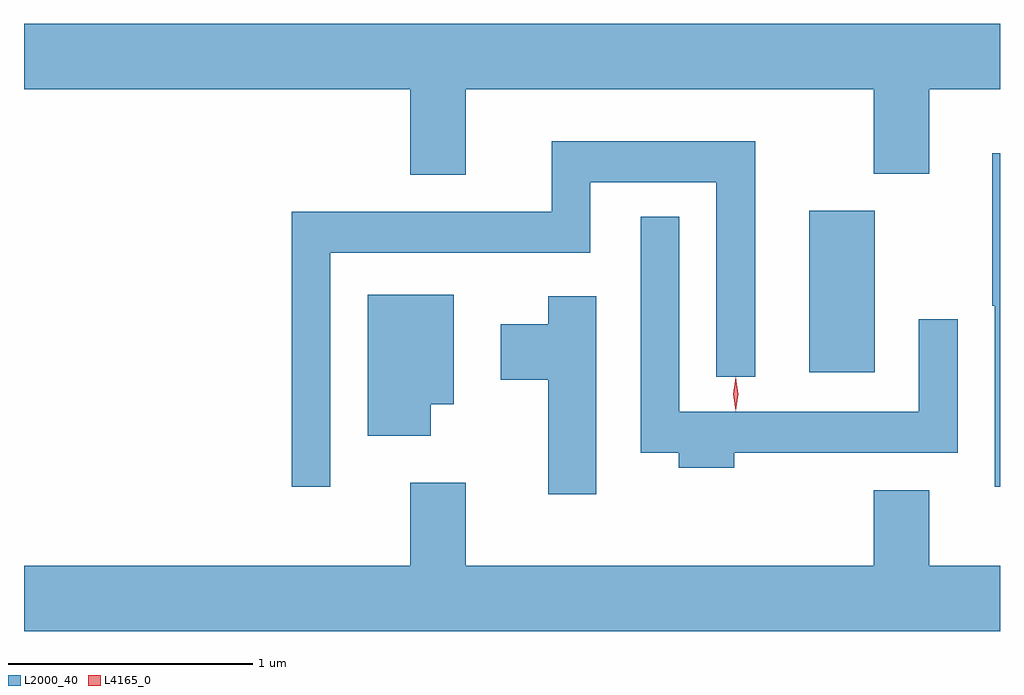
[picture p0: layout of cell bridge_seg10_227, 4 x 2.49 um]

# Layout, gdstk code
import gdstk
lib = gdstk.Library(unit=1e-6, precision=1e-09)
def R(c, l, rs):  # rectangles x0, y0, x1, y1
    for r in rs: c.add(gdstk.rectangle(r[:2], r[2:], *l))
def P(c, l, *ps):  # polygons
    for p in ps: c.add(gdstk.Polygon(p, *l))
L2000_40 = (2000, 40)
L4165_0 = (4165, 0)

bridge_seg10_227 = lib.new_cell('bridge_seg10_227')
R(bridge_seg10_227, L2000_40, [(1740.026,2099.436,1740.294,2100.099)])
P(bridge_seg10_227, L2000_40, [(1738.619,2100.596),(1740.291,2100.596),(1740.291,2100.251),(1740.519,2100.251),(1740.519,2100.596),(1740.808,2100.596),(1740.808,2100.864),(1736.808,2100.864),(1736.808,2100.596),(1738.391,2100.596),(1738.391,2100.246),(1738.619,2100.246)],
  [(1738.064,2099.926),(1739.129,2099.926),(1739.129,2100.216),(1739.646,2100.216),(1739.646,2099.418),(1739.804,2099.418),(1739.804,2100.384),(1738.971,2100.384),(1738.971,2100.094),(1737.906,2100.094),(1737.906,2098.968),(1738.064,2098.968)],
  [(1740.808,2100.334),(1740.776,2100.334),(1740.776,2099.71),(1740.786,2099.71),(1740.786,2098.968),(1740.808,2098.968)],
  [(1739.719,2099.106),(1740.634,2099.106),(1740.634,2099.653),(1740.476,2099.653),(1740.476,2099.274),(1739.494,2099.274),(1739.494,2100.073),(1739.336,2100.073),(1739.336,2099.106),(1739.491,2099.106),(1739.491,2099.046),(1739.719,2099.046)],
  [(1738.474,2099.306),(1738.569,2099.306),(1738.569,2099.754),(1738.216,2099.754),(1738.216,2099.176),(1738.474,2099.176)],
  [(1739.154,2099.749),(1738.956,2099.749),(1738.956,2099.634),(1738.761,2099.634),(1738.761,2099.406),(1738.956,2099.406),(1738.956,2098.936),(1739.154,2098.936)],
  [(1740.808,2098.644),(1740.519,2098.644),(1740.519,2098.954),(1740.291,2098.954),(1740.291,2098.644),(1738.619,2098.644),(1738.619,2098.984),(1738.391,2098.984),(1738.391,2098.644),(1736.808,2098.644),(1736.808,2098.376),(1740.808,2098.376)])
P(bridge_seg10_227, L4165_0, [(1739.725,2099.279),(1739.724,2099.28),(1739.715,2099.346),(1739.724,2099.412),(1739.725,2099.413),(1739.725,2099.412),(1739.735,2099.346),(1739.725,2099.28)],
  [(1739.725,2099.277),(1739.724,2099.278),(1739.715,2099.347),(1739.724,2099.416),(1739.725,2099.416),(1739.725,2099.416),(1739.735,2099.347),(1739.725,2099.278)])

lib.write_gds('bridge_seg10_227.gds')
